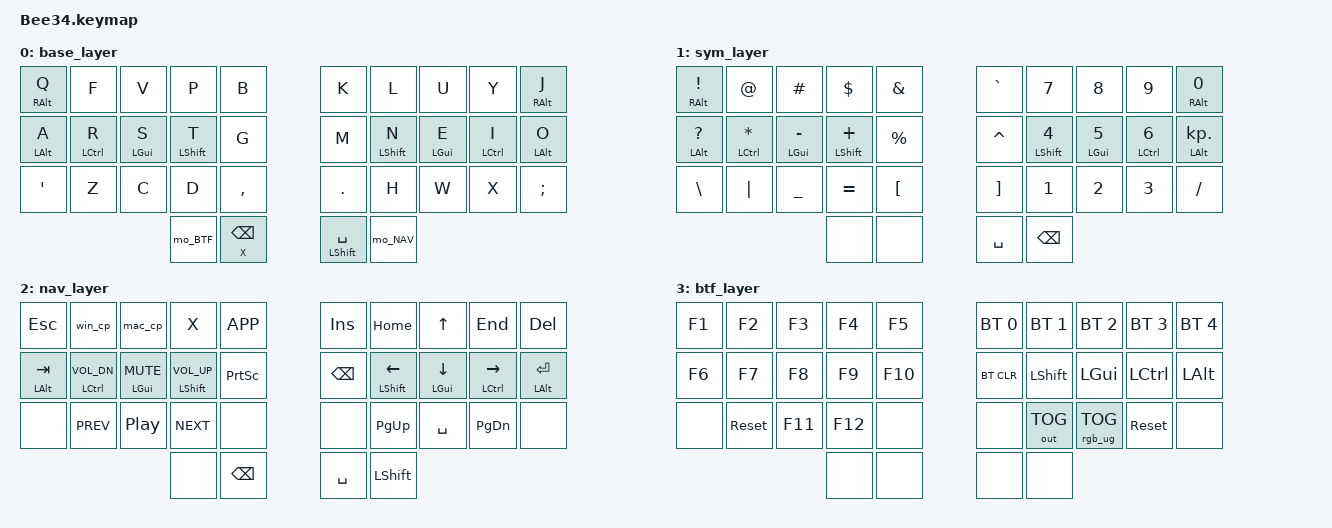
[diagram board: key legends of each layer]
/*
 * Copyright (c) 2021 The ZMK Contributors
 *
 * SPDX-License-Identifier: MIT
 */

#include <behaviors.dtsi>
#include <dt-bindings/zmk/keys.h>
#include <dt-bindings/zmk/bt.h>
#include <dt-bindings/zmk/rgb.h>
#include <dt-bindings/zmk/outputs.h>
#include "keypos_34keys.h"

#define _BASE    0
#define _SYM     1
#define _NAV     2
#define _BTF     3

#define RGB_BASE RGB_COLOR_HSB(15,100,2)
#define RGB_SYM RGB_COLOR_HSB(0,100,2)
#define RGB_NAV RGB_COLOR_HSB(100,100,2)
#define RGB_BTF RGB_COLOR_HSB(200,100,2)

&sk {
    quick-release;
};

&sl {
    release-after-ms = <300>;
};

/ {
    // conditional_layers {
    //     compatible = "zmk,conditional-layers";
    //     tri_layer {
    //         if-layers = <1 2>;
    //         then-layer = <4>;
    //     };
    // };

    macros {
        to_BASE: to_BASE {
            label = "ZM_to_BASE";
            compatible = "zmk,behavior-macro";
            #binding-cells = <0>;
            wait-ms = <0>;
            tap-ms = <0>;
            bindings
                = <&rgb_ug RGB_BASE>
                , <&to _BASE>
                ;
        };

        mo_SYM: mo_SYM {
            label = "ZM_mo_SYM";
            compatible = "zmk,behavior-macro";
            #binding-cells = <0>;
            wait-ms = <0>;
            tap-ms = <0>;
            bindings
                = <&macro_tap &rgb_ug RGB_SYM>
                , <&macro_press &mo _SYM>
                , <&macro_pause_for_release>
                , <&macro_tap &rgb_ug RGB_BASE>
                , <&macro_release &mo _SYM>
                ;
        };

        to_NAV: to_NAV {
            label = "ZM_to_NAV";
            compatible = "zmk,behavior-macro";
            #binding-cells = <0>;
            wait-ms = <0>;
            tap-ms = <0>;
            bindings
                = <&rgb_ug RGB_NAV>
                , <&to _NAV>
                ;
        };

        mo_NAV: mo_NAV {
            label = "ZM_mo_NAV";
            compatible = "zmk,behavior-macro";
            #binding-cells = <0>;
            wait-ms = <0>;
            tap-ms = <0>;
            bindings
                = <&macro_tap &rgb_ug RGB_NAV>
                , <&macro_press &mo _NAV>
                , <&macro_pause_for_release>
                , <&macro_tap &rgb_ug RGB_BASE>
                , <&macro_release &mo _NAV>
                ;
        };

        // to_BTF: to_BTF {
        //     label = "ZM_to_BTF";
        //     compatible = "zmk,behavior-macro";
        //     #binding-cells = <0>;
        //     wait-ms = <0>;
        //     tap-ms = <0>;
        //     bindings
        //         = <&rgb_ug RGB_BTF>
        //         , <&to _BTF>
        //         ;
        // };

        mo_BTF: mo_BTF {
            label = "ZM_mo_BTF";
            compatible = "zmk,behavior-macro";
            #binding-cells = <0>;
            wait-ms = <0>;
            tap-ms = <0>;
            bindings
                = <&macro_tap &rgb_ug RGB_BTF>
                , <&macro_press &mo _BTF>
                , <&macro_pause_for_release>
                , <&macro_tap &rgb_ug RGB_BASE>
                , <&macro_release &mo _BTF>
                ;
        };

        to_BOOT: to_BOOT {
            label = "ZM_to_BOOT";
            compatible = "zmk,behavior-macro";
            #binding-cells = <0>;
            bindings
                = <&rgb_ug RGB_COLOR_HSB(0,100,50)>
                , <&rgb_ug RGB_ON>
                , <&bootloader>
                ;
        };
    };

    combos {
        compatible = "zmk,combos";
        combo_RESET {
            timeout-ms = <50>;
            key-positions = <LBR RBR>;
            bindings = <&to_BOOT>;
            layers = <_BTF>;
        };

        // combo_BTF {
        //     timeout-ms = <50>;
        //     key-positions = <LHI RHI>;
        //     bindings = <&mo_BTF>;
        // };

        combo_NAV_L {
            timeout-ms = <50>;
            key-positions = <RMI RMM RMR>;
            bindings = <&to_NAV>;
            layers = <_BASE>;
        };

        combo_NAV_U {
            timeout-ms = <50>;
            key-positions = <RMI RMM RMR>;
            bindings = <&to_BASE>;
            layers = <_NAV>;
        };

        // combo_ESC {
        //     timeout-ms = <40>;
        //     key-positions = <LTP LTR>;
        //     bindings = <&kp ESC>;
        //     layers = <_BASE _SYM>;
        // };

        // combo_TAB {
        //     timeout-ms = <40>;
        //     key-positions = <LMP LMR>;
        //     bindings = <&kp TAB>;
        //     layers = <_BASE _SYM>;
        // };

        // combo_DEL {
        //     timeout-ms = <40>;
        //     key-positions = <RTR RTP>;
        //     bindings = <&kp DEL>;
        //     layers = <_BASE _SYM _BT_NP>;
        // };
            
        // combo_RET {
        //     timeout-ms = <40>;
        //     key-positions = <RMR RMP>;
        //     bindings = <&kp RET>;
        //     layers = <_BASE _SYM _BT_NP>;
        // };
            
        combo_CAPS {
            timeout-ms = <40>;
            key-positions = <LMI RMI>;
            bindings = <&caps_word>;
            layers = <_BASE _SYM>;
        };

        // combo_lAltGr {
        //     timeout-ms = <40>;
        //     key-positions = <LTP LMP>;
        //     bindings = <&kp RALT>;
        //     layers = <_BASE _SYM>;
        // };

        // combo_rAltGr {
        //     timeout-ms = <40>;
        //     key-positions = <RTP RMP>;
        //     bindings = <&kp RALT>;
        //     layers = <_BASE _SYM>;
        // };
          
        // combo_FNAV_lock {
        //     timeout-ms = <40>;
        //     key-positions = <RHI RHO>;
        //     bindings = <&to_F_NAV>;
        // };

        // combo_BTNP_lock {
        //     timeout-ms = <40>;
        //     key-positions = <LHI LHO>;
        //     bindings = <&to_BT_NP>;
        // };
          
        combo_LPAR {
            timeout-ms = <40>;
            key-positions = <LMM LMR>;
            bindings = <&kp LPAR>;
            layers = <_BASE _SYM>;
        };

        combo_RPAR {
            timeout-ms = <40>;
            key-positions = <RMR RMM>;
            bindings = <&kp RPAR>;
            layers = <_BASE _SYM>;
        };

        combo_LBRC {
            timeout-ms = <40>;
            key-positions = <LTM LTR>;
            bindings = <&kp LBRC>;
            layers = <_BASE _SYM>;
        };

        combo_RBRC {
            timeout-ms = <40>;
            key-positions = <RTR RTM>;
            bindings = <&kp RBRC>;
            layers = <_BASE _SYM>;
        };

        combo_LBKT {
            timeout-ms = <40>;
            key-positions = <LBM LBR>;
            bindings = <&kp LBKT>;
            layers = <_BASE _SYM>;
        };

        combo_RBKT {
            timeout-ms = <40>;
            key-positions = <RBR RBM>;
            bindings = <&kp RBKT>;
            layers = <_BASE _SYM>;
        };

        // combo_COMMA {
        //     timeout-ms = <40>;
        //     key-positions = <LMR LMM>;
        //     bindings = <&kp COMMA>;
        //     layers = <_BASE _SYM>;
        // };

        // combo_DOT {
        //     timeout-ms = <40>;
        //     key-positions = <RMR RMM>;
        //     bindings = <&kp DOT>;
        //     layers = <_BASE _SYM>;
        // };

        // combo_X {
        //     timeout-ms = <40>;
        //     key-positions = <LMR LMM>;
        //     bindings = <&kp X>;
        //     layers = <_BASE _SYM>;
        // };

        // combo_W {
        //     timeout-ms = <40>;
        //     key-positions = <RMR RMM>;
        //     bindings = <&kp W>;
        //     layers = <_BASE _SYM>;
        // };

        // combo_SEMI_COL {
        //     timeout-ms = <40>;
        //     key-positions = <RMR RMM>;
        //     bindings = <&sem_col>;
        //     layers = <_BASE _SYM>;
        // };

        // combo_SEMI {
        //     timeout-ms = <40>;
        //     key-positions = <LBR LBM>;
        //     bindings = <&kp SEMICOLON>;
        //     layers = <_BASE _SYM>;
        // };

        // combo_COLON {
        //     timeout-ms = <40>;
        //     key-positions = <RBR RBM>;
        //     bindings = <&kp COLON>;
        //     layers = <_BASE _SYM>;
        // };

        combo_COM_SEM {
            timeout-ms = <40>;
            key-positions = <LMI LMM>;
            bindings = <&com_sem>;
            layers = <_BASE _SYM>;
        };

        combo_DOT_COL {
            timeout-ms = <40>;
            key-positions = <RMI RMM>;
            bindings = <&dot_col>;
            layers = <_BASE _SYM>;
        };

        combo_FSLH {
            timeout-ms = <40>;
            key-positions = <RBM RBI>;
            bindings = <&kp FSLH>;
            layers = <_BASE _SYM _NAV>;
        };

        combo_BSLH {
            timeout-ms = <40>;
            key-positions = <LBM LBI>;
            bindings = <&kp BSLH>;
            layers = <_BASE _SYM _NAV>;
        };

        combo_SQT {
            timeout-ms = <40>;
            key-positions = <LTI LTM>;
            bindings = <&kp SQT>;
            layers = <_BASE _SYM>;
        };

        combo_DQT {
            timeout-ms = <40>;
            key-positions = <RTI RTM>;
            bindings = <&kp DQT>;
            layers = <_BASE _SYM>;
        };
            
        combo_GT {
            timeout-ms = <40>;
            key-positions = <RTC RMC>;
            bindings = <&kp GT>;
            layers = <_BASE _SYM>;
        };

        combo_LT {
            timeout-ms = <40>;
            key-positions = <LMC LTC>;
            bindings = <&kp LT>;
            layers = <_BASE _SYM>;
        };
    };

    behaviors {
        // td_fnav: tap_dance_fnav {
        //     compatible = "zmk,behavior-tap-dance";
        //     label = "LOCK_F_NAV";
        //     #binding-cells = <0>;
        //     tapping-term-ms = <250>;
        //     bindings = <&mo_F_NAV>, <&to_F_NAV>;
        // };
 
        // td_btnp: tap_dance_btnp {
        //     compatible = "zmk,behavior-tap-dance";
        //     label = "LOCK_BT_NP";
        //     #binding-cells = <0>;
        //     tapping-term-ms = <250>;
        //     bindings = <&mo_BT_NP>, <&to_BT_NP>;
        // };

    //    ht_fnav: hold_tap_fnav {
    //        compatible = "zmk,behavior-hold-tap";
    //        label = "SL_F_NAV";
    //        #binding-cells = <2>;
    //        flavor = "balanced";
    //        tapping-term-ms = <180>;
    //        quick-tap-ms = <180>;
    //        bindings = <&mo_F_NAV>, <&sl>;
    //    };

    //    ht_btnp: hold_tap_btnp {
    //        compatible = "zmk,behavior-hold-tap";
    //        label = "SL_BT_NP";
    //        #binding-cells = <2>;
    //        flavor = "balanced";
    //        tapping-term-ms = <180>;
    //        quick-tap-ms = <180>;
    //        bindings = <&mo_BT_NP>, <&sl>;
    //    };

        // copy_cut: copy_cut {
        //     compatible = "zmk,behavior-tap-dance";
        //     label = "COPY_CUT";
        //     #binding-cells = <0>;
        //     tapping-term-ms = <200>;
        //     bindings = <&kp C>, <&kp X>;
        // };

        win_cp: win_cp {
            compatible = "zmk,behavior-tap-dance";
            label = "CTRL_COPY_PASTA";
            #binding-cells = <0>;
            tapping-term-ms = <400>;
            bindings = <&kp LC(C)>, <&kp LC(V)>;
        };

        mac_cp: mac_cp {
            compatible = "zmk,behavior-tap-dance";
            label = "GUI_COPY_PASTA";
            #binding-cells = <0>;
            tapping-term-ms = <400>;
            bindings = <&kp LG(C)>, <&kp LG(V)>;
        };

        // ctrl_x: ctrl_x {
        //     compatible = "zmk,behavior-hold-tap";
        //     label = "CTRL_CUT_HOLD";
        //     #binding-cells = <2>;
        //     flavor = "tap-preferred";
        //     tapping-term-ms = <400>;
        //     bindings = <&kp>, <&win_cp>;
        // };

        // gui_x: gui_x {
        //     compatible = "zmk,behavior-hold-tap";
        //     label = "GUI_CUT_HOLD";
        //     #binding-cells = <2>;
        //     flavor = "tap-preferred";
        //     tapping-term-ms = <400>;
        //     bindings = <&kp>, <&mac_cp>;
        // };

        /* left-hand HRMs */
        hml: hrm_left {
            compatible = "zmk,behavior-hold-tap";
            label = "LEFT_HRM";
            #binding-cells = <2>;
            flavor = "balanced";
            tapping-term-ms = <300>;
            quick-tap-ms = <170>;                // repeat on tap-into-hold
            global-quick-tap;
            bindings = <&kp>, <&kp>;
            hold-trigger-key-positions = <KEYS_R THUMBS>;
            hold-trigger-on-release;             // delay positional check until key-release
        };

        /* right-hand HRMs */
        hmr: hrm_right {
            compatible = "zmk,behavior-hold-tap";
            label = "RIGHT_HRM";
            #binding-cells = <2>;
            flavor = "balanced";
            tapping-term-ms = <300>;
            quick-tap-ms = <170>;                // repeat on tap-into-hold
            global-quick-tap;
            bindings = <&kp>, <&kp>;
            hold-trigger-key-positions = <KEYS_L THUMBS>;
            hold-trigger-on-release;             // delay positional check until key-release
        };

        bspctap: backsapce-tap {
            compatible = "zmk,behavior-hold-tap";
            label = "BSPC_TAP_SYM_HOLD";
            #binding-cells = <2>;
            flavor = "balanced";
            tapping-term-ms = <200>;
            quick-tap-ms = <170>;
            // global-quick-tap;
            bindings = <&mo_SYM>, <&kp>;
        };

        spctap: space-tap {
            compatible = "zmk,behavior-hold-tap";
            label = "SPACE_TAP_NAV_HOLD";
            #binding-cells = <2>;
            flavor = "balanced";
            tapping-term-ms = <200>;
            quick-tap-ms = <170>;
            // global-quick-tap;
            bindings = <&kp>, <&kp>;
        };

        // rch: reset-combo-hold {
        //     compatible = "zmk,behavior-hold-tap";
        //     label = "RESET_COMBO_HOLD";
        //     #binding-cells = <2>;
        //     flavor = "tap-preferred";
        //     tapping-term-ms = <2500>;
        //     bindings = <&to_BOOT>, <&sys_reset>;
        // };

        com_sem: comma_semicolon {
            compatible = "zmk,behavior-mod-morph";
            label = "COMMA_SEMI";
            #binding-cells = <0>;
            bindings = <&kp COMMA>, <&kp SEMI>;
            mods = <(MOD_LSFT)>;
        };

        // com_dot: comma_dot {
        //     compatible = "zmk,behavior-mod-morph";
        //     label = "COMMA_DOT";
        //     #binding-cells = <0>;
        //     bindings = <&kp COMMA>, <&kp DOT>;
        //     mods = <(MOD_LSFT)>;
        // };

        dot_col: dot_colon {
            compatible = "zmk,behavior-mod-morph";
            label = "DOT_COLON";
            #binding-cells = <0>;
            bindings = <&kp DOT>, <&kp COLON>;
            mods = <(MOD_LSFT)>;
        };
        
        // sem_col: semicolon_colon {
        //     compatible = "zmk,behavior-mod-morph";
        //     label = "SEMI_COLON";
        //     #binding-cells = <0>;
        //     bindings = <&kp SEMI>, <&kp COLON>;
        //     mods = <(MOD_LSFT)>;
        // };
        
        // qmk_exc: qmark_excl {
        //     compatible = "zmk,behavior-mod-morph";
        //     label = "QMARK_EXCL";
        //     #binding-cells = <0>;
        //     bindings = <&kp QMARK>, <&kp EXCL>;
        //     mods = <(MOD_LSFT)>;
        // };

        // plus_multi: plus_multiply {
        //     compatible = "zmk,behavior-tap-dance";
        //     label = "PLUS_MULTIPLY";
        //     #binding-cells = <0>;
        //     tapping-term-ms = <400>;
        //     bindings = <&kp KP_PLUS>, <&kp KP_MULTIPLY>;
        // };

        // minus_div: minus_divide {
        //     compatible = "zmk,behavior-tap-dance";
        //     label = "MINUS_DIVIDE";
        //     #binding-cells = <0>;
        //     tapping-term-ms = <400>;
        //     bindings = <&kp KP_MINUS>, <&kp KP_DIVIDE>;
        // };

        // sqt_lt: sqt_lt {
        //     compatible = "zmk,behavior-mod-morph";
        //     label = "SQT_LT";
        //     #binding-cells = <0>;
        //     bindings = <&kp SQT>, <&kp LT>;
        //     mods = <(MOD_LSFT)>;
        // };
        
        // dqt_gt: dqt_gt {
        //     compatible = "zmk,behavior-mod-morph";
        //     label = "DQT_GT";
        //     #binding-cells = <0>;
        //     bindings = <&kp DQT>, <&kp GT>;
        //     mods = <(MOD_LSFT)>;
        // };
    };

    keymap {
        compatible = "zmk,keymap";

                base_layer {
// -------------------------------    -------------------------------
// |  Q  |  F  |  V  |  P  |  B  |    |  K  |  L  |  U  |  Y  |  J  |
// |  A  |  R  |  S  |  T  |  G  |    |  M  |  N  |  E  |  I  |  O  |
// | ' " |  Z  |  C  |  D  | , < |    | . > |  H  |  W  |  X  | ; : |
//           | _BTF | _SYM(BSPC) |    | SHFT(SPC) | _NAV |
                        bindings = <
   &hml RALT Q &kp F        &kp V       &kp P        &kp B     &kp K     &kp L        &kp U       &kp Y        &hmr RALT J
   &hml LALT A &hml LCTRL R &hml LGUI S &hml LSHFT T &kp G     &kp M     &hmr LSHFT N &hmr LGUI E &hmr LCTRL I &hmr LALT O 
   &kp SQT     &kp Z        &kp C       &kp D        &kp COMMA &kp DOT   &kp H        &kp W       &kp X        &kp SEMI
                                  &mo_BTF  &bspctap X BSPC     &spctap LSHFT SPACE  &mo_NAV
                        >;
                };

                sym_layer {
// -------------------------------    -------------------------------
// |  !  |  @  |  #  |  $  |  &  |    | ` ~ |  7  |  8  |  9  |  0  |
// |  ?  |  *  |  -  |  +  |  %  |    |  ^  |  4  |  5  |  6  |  .  |
// |  \  |  |  |  _  |  =  | [ { |    | ] } |  1  |  2  |  3  |  /  |
//                   |     |     |    | SPC | BSPC |
                        bindings = <
   &hml RALT EXCL  &kp AT           &kp HASH        &kp DLLR         &kp AMPS      &kp GRAVE &kp N7        &kp N8       &kp N9        &hmr RALT N0
   &hml LALT QMARK &hml LCTRL ASTRK &hml LGUI MINUS &hml LSHFT PLUS  &kp PRCNT     &kp CARET &hmr LSHFT N4 &hmr LGUI N5 &hmr LCTRL N6 &hmr LALT KP_DOT
   &kp BSLH        &kp PIPE         &kp UNDER       &kp EQUAL        &kp LBKT      &kp RBKT  &kp N1        &kp N2       &kp N3        &kp SLASH
                                                               &none &none         &kp SPACE &kp BSPC
                        >;
                };

                nav_layer {
// ----------------------------------    -----------------------------------
// | ESC | C_CP | G_CP |  X   | APP |    | INS  | HOME |  UP  | END  | DEL |
// | TAB | VOL- | MUTE | VOL+ | PRN |    | BSPC | LEFT | DOWN | RGHT | RET |
// |     | PREV | PLAY | NEXT |     |    |      | PGUP | SPC  | PGDN |     |
//                    |      | BSPC |    | SPC | SHFT |
                        bindings = <
   &kp ESC       &win_cp             &mac_cp          &kp X               &kp K_APP          &kp INS   &kp HOME        &kp UP         &kp END          &kp DEL
   &hml LALT TAB &hml LCTRL C_VOL_DN &hml LGUI C_MUTE &hml LSHFT C_VOL_UP &kp PSCRN          &kp BSPC  &hmr LSHFT LEFT &hmr LGUI DOWN &hmr LCTRL RIGHT &hmr LALT RET
   &none         &kp C_PREV          &kp C_PP         &kp C_NEXT          &none              &none     &kp PG_UP       &kp SPACE      &kp PG_DN        &none
                                                                   &none  &kp BSPC           &kp SPACE &kp LSHFT
                        >;
                };
                
                btf_layer {
// --------------------------------    ------------------------------------
// | F1 |  F2   | F3  | F4  | F5  |    |  BT1  | BT2  | BT3 |  BT4  | BT5 |
// | F6 |  F7   | F8  | F9  | F10 |    | BTCLR | SHFT | GUI | CTRL  | ALT |
// |    | RESET | F11 | F12 |     |    |       | USB  | RGB | RESET |     |
//                    |     |     |    |     |     |
                        bindings = <
   &kp F1 &kp F2     &kp F3  &kp F4  &kp F5        &bt BT_SEL 0 &bt BT_SEL 1 &bt BT_SEL 2    &bt BT_SEL 3 &bt BT_SEL 4
   &kp F6 &kp F7     &kp F8  &kp F9  &kp F10       &bt BT_CLR   &kp LSHFT    &kp LGUI        &kp LCTRL    &kp LALT
   &none  &sys_reset &kp F11 &kp F12 &none         &none        &out OUT_TOG &rgb_ug RGB_TOG &sys_reset   &none
                               &none &none         &none &none
                        >;
                };                
    };
};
